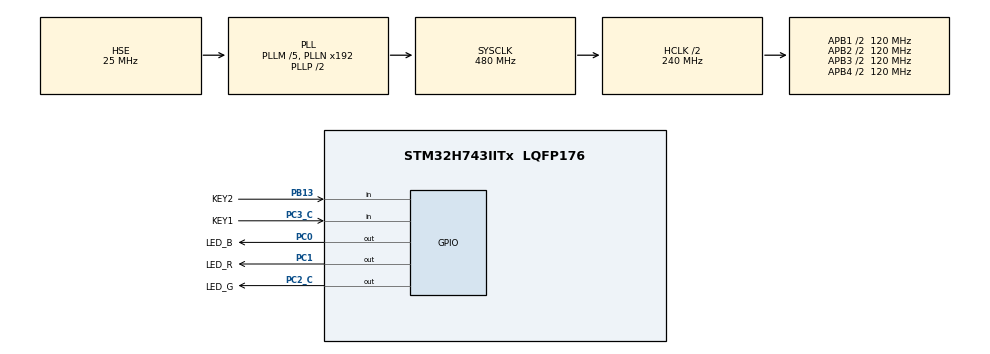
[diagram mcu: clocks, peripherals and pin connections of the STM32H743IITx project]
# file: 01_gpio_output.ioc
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CORTEX_M7.default_mode_Activation=1
Mcu.Family=STM32H7
Mcu.Name=STM32H743IITx
Mcu.Package=LQFP176
NVIC.PriorityGroup=NVIC_PRIORITYGROUP_4
PA13\ (JTMS/SWDIO).Mode=Serial_Wire
PA13\ (JTMS/SWDIO).Signal=DEBUG_JTMS-SWDIO
PA14\ (JTCK/SWCLK).Mode=Serial_Wire
PA14\ (JTCK/SWCLK).Signal=DEBUG_JTCK-SWCLK
PB13.GPIO_Label=KEY2
PB13.Signal=GPIO_Input
PC0.GPIO_Label=LED_B
PC0.GPIO_ModeDefaultOutputPP=GPIO_MODE_OUTPUT_PP
PC0.GPIO_PuPd=GPIO_NOPULL
PC0.GPIO_Speed=GPIO_SPEED_FREQ_LOW
PC0.PinState=GPIO_PIN_RESET
PC0.Signal=GPIO_Output
PC1.GPIO_Label=LED_R
PC1.PinState=GPIO_PIN_RESET
PC1.Signal=GPIO_Output
PC2_C.GPIO_Label=LED_G
PC2_C.PinState=GPIO_PIN_RESET
PC2_C.Signal=GPIO_Output
PC3_C.GPIO_Label=KEY1
PC3_C.GPIO_PuPd=GPIO_PULLUP
PC3_C.Signal=GPIO_Input
PH0-OSC_IN\ (PH0).Mode=HSE-External-Oscillator
PH0-OSC_IN\ (PH0).Signal=RCC_OSC_IN
PH1-OSC_OUT\ (PH1).Mode=HSE-External-Oscillator
PH1-OSC_OUT\ (PH1).Signal=RCC_OSC_OUT
ProjectManager.HeapSize=0x200
ProjectManager.StackSize=0x400
ProjectManager.TargetToolchain=CMake
RCC.ADCFreq_Value=50390625
RCC.APB1Freq_Value=120000000
RCC.APB2Freq_Value=120000000
RCC.APB3Freq_Value=120000000
RCC.APB4Freq_Value=120000000
RCC.CortexFreq_Value=480000000
RCC.D1PPRE=RCC_APB3_DIV2
RCC.D2PPRE1=RCC_APB1_DIV2
RCC.D2PPRE2=RCC_APB2_DIV2
RCC.D3PPRE=RCC_APB4_DIV2
RCC.DIVM1=5
RCC.DIVN1=192
RCC.HCLKFreq_Value=240000000
RCC.HPRE=RCC_HCLK_DIV2
RCC.HSE_VALUE=25000000
RCC.PLLFRACN=0
RCC.PLLSourceVirtual=RCC_PLLSOURCE_HSE
RCC.SYSCLKFreq_VALUE=480000000
RCC.SYSCLKSource=RCC_SYSCLKSOURCE_PLLCLK
RCC.USBFreq_Value=480000000
VP_MEMORYMAP_VS_MEMORYMAP.Mode=CurAppReg
board=custom

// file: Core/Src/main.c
/* USER CODE BEGIN Header */
/**
  ******************************************************************************
  * @file           : main.c
  * @brief          : Main program body
  ******************************************************************************
  * @attention
  *
  * Copyright (c) 2025 STMicroelectronics.
  * All rights reserved.
  *
  * This software is licensed under terms that can be found in the LICENSE file
  * in the root directory of this software component.
  * If no LICENSE file comes with this software, it is provided AS-IS.
  *
  ******************************************************************************
  */
/* USER CODE END Header */
#include "main.h"
#include "memorymap.h"
#include "gpio.h"
#include "key.h"

void SystemClock_Config(void);
static void MPU_Config(void);

int main(void)
{

  /* MPU Configuration--------------------------------------------------------*/
  MPU_Config();

  /* MCU Configuration--------------------------------------------------------*/

  /* Reset of all peripherals, Initializes the Flash interface and the Systick. */
  HAL_Init();

  /* Configure the system clock */
  SystemClock_Config();

  /* Initialize all configured peripherals */
  MX_GPIO_Init();
  /* USER CODE BEGIN 2 */

  /*
   *
  *
  *
void HAL_GPIO_WritePin(GPIO_TypeDef *GPIOx, uint16_t GPIO_Pin, GPIO_PinState PinState);
void HAL_GPIO_TogglePin(GPIO_TypeDef *GPIOx, uint16_t GPIO_Pin);
#define LED_B_Pin GPIO_PIN_0
#define LED_B_GPIO_Port GPIOC
#define LED_R_Pin GPIO_PIN_1
#define LED_R_GPIO_Port GPIOC
#define LED_G_Pin GPIO_PIN_2
#define LED_G_GPIO_Port GPIOC
   *
   */
  HAL_GPIO_WritePin(LED_B_GPIO_Port,LED_B_Pin | LED_R_Pin,GPIO_PIN_SET);
  HAL_Delay(1000);
  HAL_GPIO_TogglePin(GPIOC,LED_B_Pin | LED_R_Pin);
  /* USER CODE END 2 */

  /* Infinite loop */
  /* USER CODE BEGIN WHILE */
  while (1)
  {
    // HAL_GPIO_TogglePin(LED_B_GPIO_Port,LED_B_Pin);
    // HAL_Delay(1000);
    // HAL_GPIO_TogglePin(LED_G_GPIO_Port, LED_G_Pin);
    // HAL_Delay(1000);
    // HAL_GPIO_TogglePin(LED_R_GPIO_Port, LED_R_Pin);
    // HAL_Delay(1000);

    if (key.key_state == DONE) {
        if (key.is_long_pressed) {
            HAL_GPIO_TogglePin(LED_R_GPIO_Port, LED_R_Pin);
        } else if (key.is_double_clicked) {
            HAL_GPIO_TogglePin(LED_G_GPIO_Port, LED_G_Pin);
        } else {
            if (key.key_num ==(KEY1|KEY2)) {
                HAL_GPIO_TogglePin(LED_R_GPIO_Port, LED_R_Pin);
                HAL_GPIO_TogglePin(LED_G_GPIO_Port, LED_G_Pin);
            } else if (key.key_num & KEY1) {
                HAL_GPIO_TogglePin(LED_R_GPIO_Port, LED_R_Pin);
            } else if (key.key_num & KEY2) {
                HAL_GPIO_TogglePin(LED_G_GPIO_Port, LED_G_Pin);
            }
            HAL_GPIO_TogglePin(LED_B_GPIO_Port, LED_B_Pin);
        }
        key.key_state = IDLE;
        key.is_double_clicked = 0;
        key.is_long_pressed = 0;
    }

    /* USER CODE END WHILE */

  }
}

void SystemClock_Config(void)
{
  RCC_OscInitTypeDef RCC_OscInitStruct = {0};
  RCC_ClkInitTypeDef RCC_ClkInitStruct = {0};

  /** Supply configuration update enable
  */
  HAL_PWREx_ConfigSupply(PWR_LDO_SUPPLY);

  /** Configure the main internal regulator output voltage
  */
  __HAL_PWR_VOLTAGESCALING_CONFIG(PWR_REGULATOR_VOLTAGE_SCALE0);

  while(!__HAL_PWR_GET_FLAG(PWR_FLAG_VOSRDY)) {}

  /** Initializes the RCC Oscillators according to the specified parameters
  * in the RCC_OscInitTypeDef structure.
  */
  RCC_OscInitStruct.OscillatorType = RCC_OSCILLATORTYPE_HSE;
  RCC_OscInitStruct.HSEState = RCC_HSE_ON;
  RCC_OscInitStruct.PLL.PLLState = RCC_PLL_ON;
  RCC_OscInitStruct.PLL.PLLSource = RCC_PLLSOURCE_HSE;
  RCC_OscInitStruct.PLL.PLLM = 5;
  RCC_OscInitStruct.PLL.PLLN = 192;
  RCC_OscInitStruct.PLL.PLLP = 2;
  RCC_OscInitStruct.PLL.PLLQ = 2;
  RCC_OscInitStruct.PLL.PLLR = 2;
  RCC_OscInitStruct.PLL.PLLRGE = RCC_PLL1VCIRANGE_2;
  RCC_OscInitStruct.PLL.PLLVCOSEL = RCC_PLL1VCOWIDE;
  RCC_OscInitStruct.PLL.PLLFRACN = 0;
  if (HAL_RCC_OscConfig(&RCC_OscInitStruct) != HAL_OK)
  {
    Error_Handler();
  }

  /** Initializes the CPU, AHB and APB buses clocks
  */
  RCC_ClkInitStruct.ClockType = RCC_CLOCKTYPE_HCLK|RCC_CLOCKTYPE_SYSCLK
                              |RCC_CLOCKTYPE_PCLK1|RCC_CLOCKTYPE_PCLK2
                              |RCC_CLOCKTYPE_D3PCLK1|RCC_CLOCKTYPE_D1PCLK1;
  RCC_ClkInitStruct.SYSCLKSource = RCC_SYSCLKSOURCE_PLLCLK;
  RCC_ClkInitStruct.SYSCLKDivider = RCC_SYSCLK_DIV1;
  RCC_ClkInitStruct.AHBCLKDivider = RCC_HCLK_DIV2;
  RCC_ClkInitStruct.APB3CLKDivider = RCC_APB3_DIV2;
  RCC_ClkInitStruct.APB1CLKDivider = RCC_APB1_DIV2;
  RCC_ClkInitStruct.APB2CLKDivider = RCC_APB2_DIV2;
  RCC_ClkInitStruct.APB4CLKDivider = RCC_APB4_DIV2;

  if (HAL_RCC_ClockConfig(&RCC_ClkInitStruct, FLASH_LATENCY_4) != HAL_OK)
  {
    Error_Handler();
  }
}

 /* MPU Configuration */

void MPU_Config(void)
{
  MPU_Region_InitTypeDef MPU_InitStruct = {0};

  /* Disables the MPU */
  HAL_MPU_Disable();

  /** Initializes and configures the Region and the memory to be protected
  */
  MPU_InitStruct.Enable = MPU_REGION_ENABLE;
  MPU_InitStruct.Number = MPU_REGION_NUMBER0;
  MPU_InitStruct.BaseAddress = 0x0;
  MPU_InitStruct.Size = MPU_REGION_SIZE_4GB;
  MPU_InitStruct.SubRegionDisable = 0x87;
  MPU_InitStruct.TypeExtField = MPU_TEX_LEVEL0;
  MPU_InitStruct.AccessPermission = MPU_REGION_NO_ACCESS;
  MPU_InitStruct.DisableExec = MPU_INSTRUCTION_ACCESS_DISABLE;
  MPU_InitStruct.IsShareable = MPU_ACCESS_SHAREABLE;
  MPU_InitStruct.IsCacheable = MPU_ACCESS_NOT_CACHEABLE;
  MPU_InitStruct.IsBufferable = MPU_ACCESS_NOT_BUFFERABLE;

  HAL_MPU_ConfigRegion(&MPU_InitStruct);
  /* Enables the MPU */
  HAL_MPU_Enable(MPU_PRIVILEGED_DEFAULT);

}

void Error_Handler(void)
{
  __disable_irq();
  while (1)
  {
  }
}
